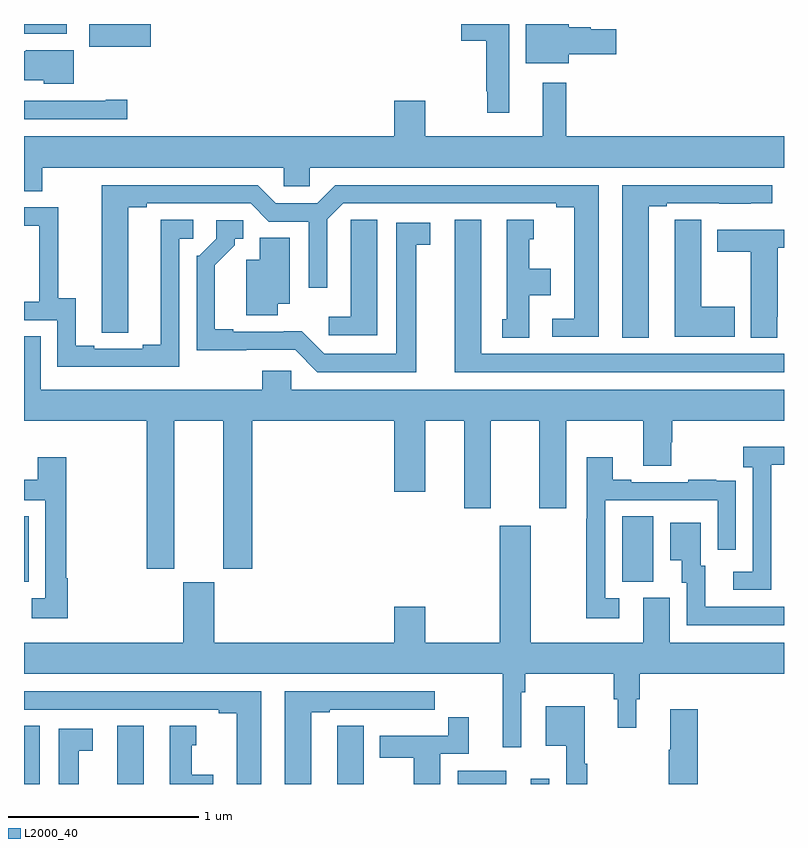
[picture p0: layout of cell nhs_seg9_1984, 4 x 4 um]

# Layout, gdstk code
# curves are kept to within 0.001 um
import gdstk
lib = gdstk.Library(unit=1e-6, precision=1e-09)
def R(c, l, rs):  # rectangles x0, y0, x1, y1
    for r in rs: c.add(gdstk.rectangle(r[:2], r[2:], *l))
def P(c, l, *ps):  # polygons
    for p in ps: c.add(gdstk.Polygon(p, *l))
L2000_40 = (2000, 40)

nhs_seg9_1984 = lib.new_cell('nhs_seg9_1984')
R(nhs_seg9_1984, L2000_40, [(223,1202.5,223.084,1202.807), (223.49,1202.5,223.63,1202.806), (225.284,1202.5,225.538,1202.569), (225.668,1202.5,225.765,1202.527), (223,1203.565,223.024,1203.908), (226.148,1203.565,226.312,1203.908), (223.344,1206.38,223.666,1206.5), (223,1206.449,223.225,1206.5)])
P(nhs_seg9_1984, L2000_40, [(225.868,1206.34),(226.117,1206.34),(226.117,1206.473),(225.984,1206.473),(225.984,1206.482),(225.868,1206.482),(225.868,1206.5),(225.641,1206.5),(225.641,1206.293),(225.868,1206.293)],
  [(225.553,1206.5),(225.302,1206.5),(225.302,1206.413),(225.432,1206.413),(225.432,1206.145),(225.439,1206.145),(225.439,1206.033),(225.553,1206.033)],
  [(223.261,1206.361),(223.009,1206.361),(223.009,1206.357),(223,1206.357),(223,1206.203),(223.104,1206.203),(223.104,1206.185),(223.261,1206.185)],
  [(223.095,1205.744),(224.367,1205.744),(224.367,1205.646),(224.505,1205.646),(224.505,1205.744),(227,1205.744),(227,1205.908),(225.853,1205.908),(225.853,1206.19),(225.731,1206.19),(225.731,1205.908),(225.112,1205.908),(225.112,1206.097),(224.948,1206.097),(224.948,1205.908),(223,1205.908),(223,1205.62),(223.095,1205.62)],
  [(223.543,1206.101),(223.43,1206.101),(223.43,1206.096),(223,1206.096),(223,1206),(223.543,1206)],
  [(226.024,1205.652),(224.639,1205.652),(224.543,1205.556),(224.325,1205.556),(224.229,1205.652),(223.409,1205.652),(223.41,1204.876),(223.549,1204.876),(223.549,1205.536),(223.645,1205.536),(223.645,1205.556),(224.193,1205.556),(224.289,1205.46),(224.499,1205.46),(224.499,1205.112),(224.595,1205.112),(224.595,1205.472),(224.679,1205.556),(225.8,1205.556),(225.8,1205.536),(225.896,1205.536),(225.896,1204.95),(225.78,1204.95),(225.78,1204.854),(226.024,1204.854)],
  [(226.288,1205.541),(226.384,1205.541),(226.384,1205.556),(226.66,1205.556),(226.66,1205.555),(226.826,1205.555),(226.826,1205.556),(226.939,1205.556),(226.939,1205.652),(226.148,1205.652),(226.148,1204.849),(226.288,1204.849)],
  [(223.818,1205.37),(223.891,1205.37),(223.891,1205.471),(223.721,1205.471),(223.721,1204.811),(223.625,1204.811),(223.625,1204.791),(223.369,1204.791),(223.369,1204.806),(223.273,1204.806),(223.273,1205.057),(223.179,1205.057),(223.179,1205.535),(223,1205.535),(223,1205.439),(223.079,1205.439),(223.079,1205.438),(223.08,1205.438),(223.08,1205.038),(223.079,1205.038),(223.079,1205.037),(223,1205.037),(223,1204.941),(223.176,1204.941),(223.176,1204.695),(223.818,1204.695)],
  [(224.86,1205.471),(224.721,1205.471),(224.721,1205.363),(224.72,1205.363),(224.72,1204.96),(224.604,1204.96),(224.604,1204.863),(224.86,1204.863)],
  [(226.741,1205.013),(226.564,1205.013),(226.564,1205.471),(226.425,1205.471),(226.425,1205.363),(226.424,1205.363),(226.424,1204.853),(226.741,1204.853)],
  [(225.658,1205.072),(225.772,1205.072),(225.772,1205.212),(225.658,1205.212),(225.658,1205.367),(225.682,1205.367),(225.682,1205.47),(225.542,1205.47),(225.542,1204.947),(225.518,1204.947),(225.518,1204.849),(225.658,1204.849)],
  [(227,1204.764),(225.406,1204.764),(225.406,1205.47),(225.266,1205.47),(225.266,1204.668),(227,1204.668)],
  [(225.064,1205.338),(225.139,1205.338),(225.139,1205.454),(224.96,1205.454),(224.96,1204.764),(224.58,1204.764),(224.462,1204.882),(224.101,1204.881),(224.101,1204.894),(224.005,1204.894),(224.005,1205.23),(224.11,1205.335),(224.11,1205.37),(224.155,1205.37),(224.155,1205.466),(224.013,1205.466),(224.013,1205.37),(223.923,1205.28),(223.908,1205.28),(223.908,1204.784),(224.427,1204.785),(224.544,1204.668),(225.064,1204.668)],
  [(226.965,1204.96),(226.966,1204.96),(226.966,1205.322),(227,1205.322),(227,1205.418),(226.649,1205.418),(226.649,1205.302),(226.826,1205.302),(226.826,1204.849),(226.965,1204.849)],
  [(224.335,1205.027),(224.398,1205.027),(224.398,1205.375),(224.24,1205.375),(224.24,1205.26),(224.171,1205.26),(224.171,1204.966),(224.335,1204.966)],
  [(223.792,1204.412),(224.048,1204.412),(224.048,1203.633),(224.201,1203.633),(224.201,1204.412),(224.948,1204.412),(224.948,1204.038),(225.112,1204.038),(225.112,1204.412),(225.317,1204.412),(225.317,1203.951),(225.457,1203.951),(225.457,1204.412),(225.713,1204.412),(225.713,1203.951),(225.853,1203.951),(225.853,1204.412),(226.259,1204.412),(226.259,1204.174),(226.407,1204.174),(226.407,1204.299),(226.412,1204.299),(226.412,1204.412),(227,1204.412),(227,1204.576),(224.406,1204.576),(224.406,1204.674),(224.255,1204.674),(224.255,1204.576),(223.087,1204.576),(223.087,1204.856),(223,1204.856),(223,1204.412),(223.645,1204.412),(223.645,1203.633),(223.792,1203.633)],
  [(226.932,1203.979),(226.933,1203.979),(226.933,1204.179),(227,1204.179),(227,1204.276),(226.785,1204.276),(226.785,1204.166),(226.836,1204.166),(226.836,1203.618),(226.734,1203.618),(226.734,1203.522),(226.932,1203.522)],
  [(223.229,1203.584),(223.222,1203.584),(223.222,1204.219),(223.073,1204.219),(223.073,1204.102),(223,1204.102),(223,1203.993),(223.113,1203.993),(223.113,1203.477),(223.041,1203.477),(223.041,1203.372),(223.229,1203.372)],
  [(226.132,1203.477),(226.059,1203.477),(226.059,1203.993),(226.65,1203.993),(226.65,1203.732),(226.746,1203.732),(226.746,1203.986),(226.745,1203.986),(226.745,1204.095),(226.643,1204.095),(226.643,1204.102),(226.495,1204.102),(226.495,1204.089),(226.195,1204.089),(226.195,1204.102),(226.099,1204.102),(226.099,1204.219),(225.963,1204.219),(225.963,1203.896),(225.958,1203.896),(225.958,1203.372),(226.132,1203.372)],
  [(227,1203.432),(226.585,1203.432),(226.585,1203.648),(226.561,1203.648),(226.561,1203.874),(226.4,1203.874),(226.4,1203.677),(226.463,1203.677),(226.463,1203.558),(226.488,1203.558),(226.488,1203.336),(227,1203.336)],
  [(225.521,1202.694),(225.618,1202.694),(225.618,1202.984),(225.638,1202.984),(225.638,1203.08),(226.105,1203.08),(226.105,1202.946),(226.124,1202.946),(226.124,1202.796),(226.222,1202.796),(226.222,1202.946),(226.241,1202.946),(226.241,1203.08),(227,1203.08),(227,1203.244),(226.399,1203.244),(226.399,1203.48),(226.259,1203.48),(226.259,1203.244),(225.667,1203.244),(225.667,1203.859),(225.503,1203.859),(225.503,1203.244),(225.112,1203.244),(225.112,1203.433),(224.948,1203.433),(224.948,1203.244),(224.002,1203.244),(224.002,1203.561),(223.838,1203.561),(223.838,1203.244),(223,1203.244),(223,1203.08),(225.521,1203.08)],
  [(224.512,1202.877),(224.608,1202.877),(224.608,1202.892),(224.884,1202.892),(224.884,1202.891),(225.05,1202.891),(225.05,1202.892),(225.163,1202.892),(225.163,1202.988),(224.372,1202.988),(224.372,1202.5),(224.512,1202.5)],
  [(224.248,1202.988),(223,1202.988),(223,1202.892),(224.024,1202.892),(224.024,1202.872),(224.12,1202.872),(224.12,1202.5),(224.248,1202.5)],
  [(225.964,1202.606),(225.952,1202.606),(225.952,1202.908),(225.746,1202.908),(225.746,1202.702),(225.855,1202.702),(225.855,1202.5),(225.964,1202.5)],
  [(226.547,1202.893),(226.4,1202.893),(226.4,1202.68),(226.393,1202.68),(226.393,1202.5),(226.547,1202.5)],
  [(225.19,1202.658),(225.341,1202.658),(225.341,1202.851),(225.232,1202.851),(225.232,1202.754),(224.873,1202.754),(224.873,1202.638),(225.05,1202.638),(225.05,1202.5),(225.19,1202.5)],
  [(224.788,1202.807),(224.649,1202.807),(224.649,1202.699),(224.648,1202.699),(224.648,1202.5),(224.788,1202.5)],
  [(223.996,1202.548),(223.882,1202.548),(223.882,1202.703),(223.906,1202.703),(223.906,1202.806),(223.766,1202.806),(223.766,1202.5),(223.996,1202.5)],
  [(223.288,1202.674),(223.363,1202.674),(223.363,1202.79),(223.184,1202.79),(223.184,1202.5),(223.288,1202.5)])

lib.write_gds('nhs_seg9_1984.gds')
